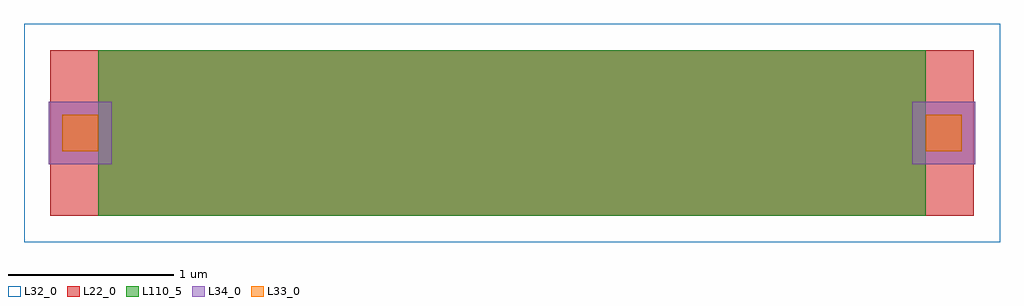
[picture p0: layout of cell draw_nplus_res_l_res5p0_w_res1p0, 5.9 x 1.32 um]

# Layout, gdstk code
import gdstk
lib = gdstk.Library(unit=1e-6, precision=1e-09)
def R(c, l, rs):  # rectangles x0, y0, x1, y1
    for r in rs: c.add(gdstk.rectangle(r[:2], r[2:], *l))
L22_0 = (22, 0)
L32_0 = (32, 0)
L33_0 = (33, 0)
L34_0 = (34, 0)
L110_5 = (110, 5)

draw_nplus_res_l_res5p0_ = lib.new_cell('draw_nplus_res_l_res5p0_w_res1p0')
R(draw_nplus_res_l_res5p0_, L22_0, [(-0.29,0,5.29,1)])
R(draw_nplus_res_l_res5p0_, L32_0, [(-0.45,-0.16,5.45,1.16)])
R(draw_nplus_res_l_res5p0_, L33_0, [(-0.22,0.39,0,0.61), (5,0.39,5.22,0.61)])
R(draw_nplus_res_l_res5p0_, L34_0, [(-0.3,0.31,0.08,0.69), (4.92,0.31,5.3,0.69)])
R(draw_nplus_res_l_res5p0_, L110_5, [(0,0,5,1)])

lib.write_gds('draw_nplus_res_l_res5p0_w_res1p0.gds')
